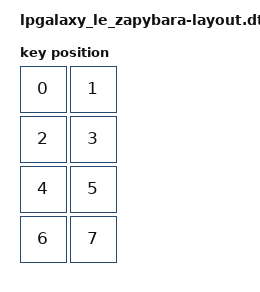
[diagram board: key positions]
#include <physical_layouts.dtsi>

/* write a layout with all the keys */
/* then define layouts with less keys and reference the full key layout */
/* If keyboard has multiple layouts, define multiple matrix transformations and multiple physical layouts, one for each layout */

/ {

    layout_0: layout_0 {
        compatible = "zmk,physical-layout";
	    display-name = "Standard";

        keys  //                     w   h    x    y     rot    rx    ry
            = <&key_physical_attrs 100 100    0    0       0     0     0>
            , <&key_physical_attrs 100 100  100    0       0     0     0>
            , <&key_physical_attrs 100 100    0  100       0     0     0>
            , <&key_physical_attrs 100 100  100  100       0     0     0>
            , <&key_physical_attrs 100 100    0  200       0     0     0>
            , <&key_physical_attrs 100 100  100  200       0     0     0>
            , <&key_physical_attrs 100 100    0  300       0     0     0>
            , <&key_physical_attrs 100 100  100  300       0     0     0>
            ;
    };
    position_map {
        compatible = "zmk,physical-layout-position-map";

        layout_0 {
            physical-layout = <&layout_0>;
            positions = <>;
        };
    };
};

&layout_0 {
    transform = <&transform>;
};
